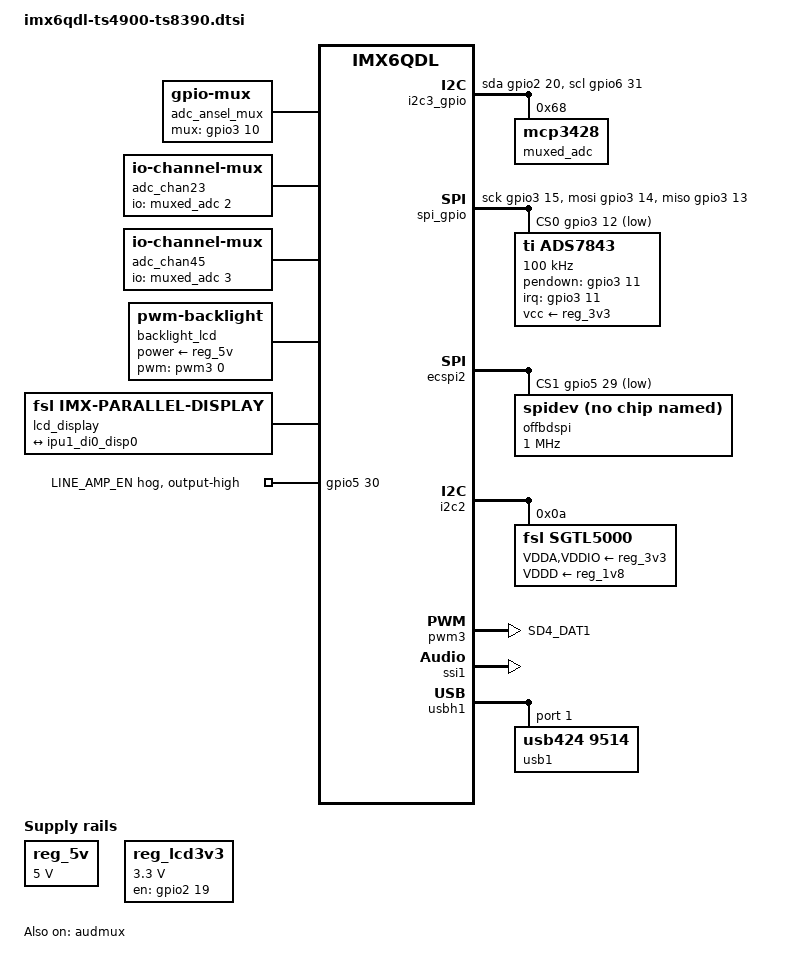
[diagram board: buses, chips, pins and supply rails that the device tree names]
// SPDX-License-Identifier: GPL-2.0 OR X11
/*
 * Copyright 2017-2022 Technologic Systems, Inc. dba embeddedTS
 */

#include <dt-bindings/interrupt-controller/irq.h>
#include <dt-bindings/pwm/pwm.h>

/ {
	chosen {
		stdout-path = &uart1;
	};

	aliases {
		ethernet0 = &fec;
		ethernet1 = &ethernet;
		i2c3 = &i2c3_gpio;
	};

	adc_ansel_mux: mux-controller {
		compatible = "gpio-mux";
		#mux-control-cells = <0>;
		mux-gpios = <&gpio3 10 GPIO_ACTIVE_HIGH>;
	};

	adc_chan23: chan23-mux {
		compatible = "io-channel-mux";
		io-channels = <&muxed_adc 2>;
		io-channel-names = "parent";
		#io-channel-cells = <1>;
		mux-controls = <&adc_ansel_mux>;
		settle-time-us = <10000>;

		channels = "channel2", "channel3";
	};

	adc_chan45: chan45-mux {
		compatible = "io-channel-mux";
		io-channels = <&muxed_adc 3>;
		io-channel-names = "parent";
		#io-channel-cells = <1>;
		mux-controls = <&adc_ansel_mux>;
		settle-time-us = <10000>;

		channels = "channel4", "channel5";
	};

	backlight_lcd: backlight-lcd {
		compatible = "pwm-backlight";
		pwms = <&pwm3 0 500000 0>;
		/*
		 * Backlight doesn't register anything until about half of max
		 * brightness. So start the first real step at something that
		 * makes the display visible. From there, make each step
		 * meaningful along the scale.
		 */
		brightness-levels = < 0 48 49 50 51 52 53 54 55 56
				     57 58 59 60 61 62 63 64 65 66
				     67 68 69 70 71 72 73 74 75 76
				     77 78 78 80 81 82 83 84 85 86
				     87 88 89 90 91 92 93 94 95 96
				     97 98 99 100>;
		default-brightness-level = <53>;
		power-supply = <&reg_5v>;
	};

	/* The TS-4900 pinctrl hog provides these as GPIO */
	i2c3_gpio: i2c {
		compatible = "i2c-gpio";
		scl-gpios = <&gpio6 31 (GPIO_ACTIVE_HIGH | GPIO_OPEN_DRAIN)>;
		sda-gpios = <&gpio2 20 (GPIO_ACTIVE_HIGH | GPIO_OPEN_DRAIN)>;
		#address-cells = <1>;
		#size-cells = <0>;

		muxed_adc: adc@68 {
			compatible = "mcp3428", "mcp3422";
			#io-channel-cells = <1>;
			reg = <0x68>;
		};
	};

	lcd_display: disp0 {
		compatible = "fsl,imx-parallel-display";
		#address-cells = <1>;
		#size-cells = <0>;
		interface-pix-fmt = "rgb24";
		pinctrl-names = "default";
		pinctrl-0 = <&pinctrl_lcd>;

		display-timings {
			OKAYA-WVGA {
				clock-frequency = <30066000>;
				hactive = <800>;
				vactive = <480>;
				hfront-porch = <50>;
				hback-porch = <70>;
				hsync-len = <50>;
				vback-porch = <2>;
				vfront-porch = <2>;
				vsync-len = <50>;

				de-active = <1>;
				pixelclk-active = <1>;
			};
		};

		port@0 {
			lcd_display_in: endpoint {
				remote-endpoint = <&ipu1_di0_disp0>;
			};
		};
	};

	reg_5v: regulator-5v {
		compatible = "regulator-fixed";
		regulator-name = "5V";
		regulator-min-microvolt = <5000000>;
		regulator-max-microvolt = <5000000>;
		regulator-always-on;
	};

	reg_lcd3v3: regulator-lcd {
		compatible = "regulator-fixed";
		pinctrl-names = "default";
		pinctrl-0 = <&pinctrl_lcd3v3>;
		regulator-name = "LCD_3V3";
		regulator-min-microvolt = <3300000>;
		regulator-max-microvolt = <3300000>;
		gpio = <&gpio2 19 GPIO_ACTIVE_HIGH>;
		enable-active-high;
		regulator-boot-on;
		regulator-always-on;
		startup-delay-us = <60000>;
	};

	sound {
		compatible = "fsl,imx-audio-sgtl5000";
		audio-codec = <&sgtl5000>;
		audio-routing =
			"Ext Spk", "LINE_OUT",
			"Headphone Jack", "HP_OUT";
		model = "On-board Codec";
		/* These describe the connection of SSI source (int) to audio out (ext) */
		mux-int-port = <1>;
		mux-ext-port = <3>;
		ssi-controller = <&ssi1>;
	};

	/* The TS-4900 pinctrl hog provides these as GPIO */
	spi_gpio: spi {
		compatible = "spi-gpio";
		num-chipselects = <1>;
		#address-cells = <1>;
		#size-cells = <0>;

		sck-gpios = <&gpio3 15 GPIO_ACTIVE_HIGH>;
		mosi-gpios = <&gpio3 14 GPIO_ACTIVE_HIGH>;
		miso-gpios = <&gpio3 13 GPIO_ACTIVE_HIGH>;
		cs-gpios = <&gpio3 12 GPIO_ACTIVE_LOW>;

		ads7843: touchscreen@0 {
			compatible = "ti,ads7843";
			reg = <0>;
			interrupt-parent = <&gpio3>;
			interrupts = <11 IRQ_TYPE_EDGE_FALLING>;
			vcc-supply = <&reg_3v3>;
			spi-max-frequency = <100000>;
			pendown-gpio = <&gpio3 11 GPIO_ACTIVE_HIGH>;
			touchscreen-swapped-x-y;
			ti,vref-mv = /bits/ 16 <3300>;
			ti,keep-vref-on;
			ti,settle-delay-usec = /bits/ 16 <500>;
			ti,debounce-rep = /bits/ 16 <1>;
			ti,debounce-tol = /bits/ 16 <30>;
			ti,debounce-max = /bits/ 16 <255>;
			ti,penirq-recheck-delay-usecs = /bits/ 16 <500>;
			ti,pressure-max = /bits/ 16 <255>;
			wakeup-source;
		};
	};
};

&audmux {
	status = "okay";
};

&ecspi2 {
	num-cs = <2>;
	cs-gpios = <
		&gpio6 2 GPIO_ACTIVE_LOW
		&gpio5 29 GPIO_ACTIVE_LOW
	>;
	pinctrl-names = "default";
	pinctrl-0 = <&pinctrl_ecspi2>;
	status = "okay";

	offbdspi: spi@1 {
		compatible = "spidev";
		reg = <1>;
		spi-max-frequency = <1000000>;
	};
};

&gpio2 {
	gpio-line-names = "", "", "", "", "", "", "", "", "", "", "", "", "",
		"", "", "IN_11", "OUT_2", "IN_0", "IN_4", "", "", "", "",
		"OUT_4", "", "", "", "OUT_5", "", "OUT_3", "";
};
&gpio3 {
	gpio-line-names = "", "", "", "", "", "", "", "", "OUT_6", "OUT_7", "",
		"", "", "", "", "", "", "", "", "", "", "", "", "", "", "", "",
		"", "", "", "";
};
&gpio4 {
	gpio-line-names = "", "", "", "", "", "IN_5", "", "", "", "", "", "",
		"", "", "", "", "", "", "", "", "", "", "", "", "", "", "", "",
		"", "", "";
};

&gpio5 {
	gpio-line-names = "IN_2", "", "", "", "OUT_0", "", "", "", "", "", "",
		"", "", "", "", "", "", "", "IN_7", "OUT_8", "", "", "", "", "",
		"", "", "", "", "", "";

	en-line-amp-hog {
		gpio-hog;
		gpios = <30 GPIO_ACTIVE_HIGH>;
		line-name = "LINE_AMP_EN";
		output-high;
	};
};

&gpio6 {
	gpio-line-names = "", "", "", "IN_6", "", "", "OUT_1", "", "", "", "",
		"", "", "", "", "", "", "", "", "", "", "", "", "", "", "", "",
		"", "", "", "";
};

&gpio7 {
	gpio-line-names = "", "", "", "", "", "", "", "", "IN_9", "", "",
		"IN_10", "IN_8", "", "", "", "", "", "", "", "", "", "", "", "",
		"", "", "", "", "", "";
};

&gpio8 {
	gpio-line-names = "", "", "IN_3", "", "", "", "", "", "", "", "", "",
		"", "", "", "", "", "", "", "", "", "", "", "", "", "", "", "",
		"", "", "", "IN_1";
};

&i2c2 {
	sgtl5000: sgtl5000@a {
		compatible = "fsl,sgtl5000";
		reg = <0x0a>;
		pinctrl-names = "default";
		pinctrl-0 = <&pinctrl_i2s>;
		#sound-dai-cells = <0>;
		clocks = <&clks IMX6QDL_CLK_CKO>;
		VDDA-supply = <&reg_3v3>;
		VDDIO-supply = <&reg_3v3>;
		VDDD-supply = <&reg_1v8>;
	};
};

&iomuxc {
	pinctrl-names = "default";
	pinctrl-0 = <&pinctrl_hog &pinctrl_muxbus_gpio>;

	pinctrl_pwm3: pwm3grp {
		fsl,pins = <
			MX6QDL_PAD_SD4_DAT1__PWM3_OUT		0x1b088
		>;
	};

	pinctrl_lcd3v3: lcdreggrp {
		fsl,pins = <
			MX6QDL_PAD_EIM_A19__GPIO2_IO19		0x1b088 /* EN_LCD_3.3V */
		>;
	};

	/*
	 * These are normally GPIO per hog and muxbus_gpio, but kept separate
	 * in case either of those need to be broken up.
	 */
	pinctrl_i2c3adc: i2c3adcgrp {
		fsl,pins = <
			MX6QDL_PAD_EIM_DA10__GPIO3_IO10		0x1b088 /* AN_SEL */
			MX6QDL_PAD_EIM_BCLK__GPIO6_IO31		0x1b088 /* ADC_CLK */
			MX6QDL_PAD_EIM_A18__GPIO2_IO20		0x1b088 /* ADC_DAT */
		>;
	};
};

&ipu1_di0_disp0 {
	remote-endpoint = <&lcd_display_in>;
};

&pcie {
	status = "disabled";
};

&pwm3 {
	pinctrl-names = "default";
	pinctrl-0 = <&pinctrl_pwm3>;
	status = "okay";
};

&ssi1 {
	status = "okay";
};

&usbh1 {
	#address-cells = <1>;
	#size-cells = <0>;
	status = "okay";

	usb1@1 {
		compatible = "usb424,9514";
		reg = <1>;
		#address-cells = <1>;
		#size-cells = <0>;

		ethernet: usbether@1 {
			compatible = "usb424,ec00";
			reg = <1>;
		};
	};
};
